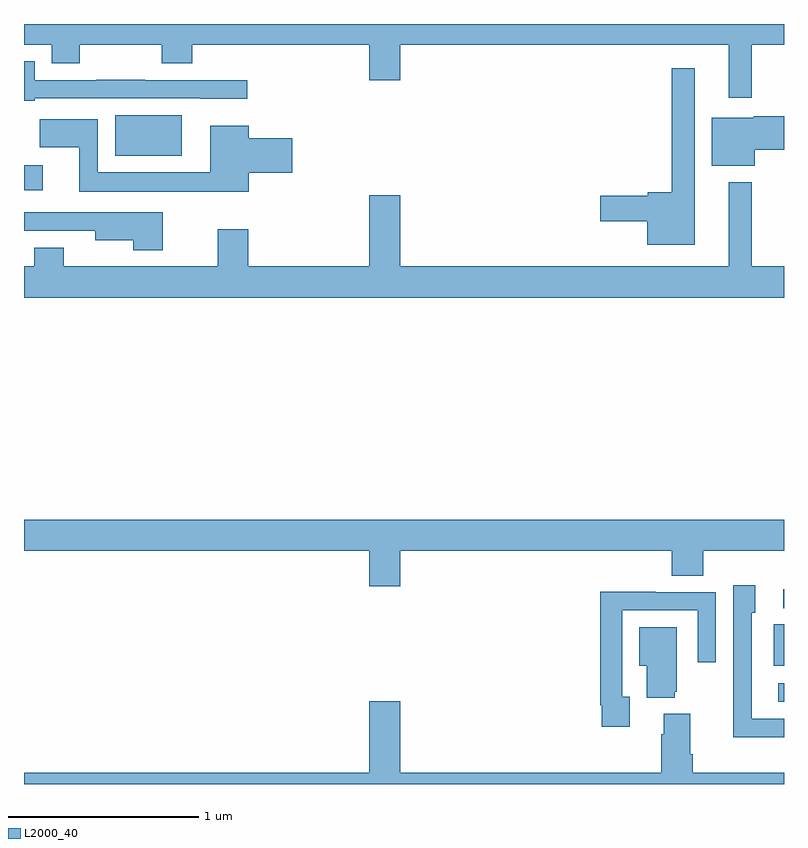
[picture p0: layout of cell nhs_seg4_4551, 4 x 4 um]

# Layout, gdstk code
import gdstk
lib = gdstk.Library(unit=1e-6, precision=1e-09)
def R(c, l, rs):  # rectangles x0, y0, x1, y1
    for r in rs: c.add(gdstk.rectangle(r[:2], r[2:], *l))
def P(c, l, *ps):  # polygons
    for p in ps: c.add(gdstk.Polygon(p, *l))
L2000_40 = (2000, 40)

nhs_seg4_4551 = lib.new_cell('nhs_seg4_4551')
R(nhs_seg4_4551, L2000_40, [(358.971,821.334,359,821.43), (358.946,821.522,359,821.741), (358.995,821.826,359,821.924), (355,824.024,355.099,824.157), (355.481,824.207,355.831,824.419)])
P(nhs_seg4_4551, L2000_40, [(355,824.792),(355.145,824.792),(355.145,824.693),(355.293,824.693),(355.293,824.792),(355.726,824.792),(355.726,824.693),(355.886,824.693),(355.886,824.792),(356.816,824.792),(356.816,824.604),(356.98,824.604),(356.98,824.792),(358.709,824.792),(358.709,824.511),(358.831,824.511),(358.831,824.792),(359,824.792),(359,824.9),(355,824.9)],
  [(355.057,824.508),(355.927,824.508),(355.927,824.507),(356.176,824.507),(356.176,824.604),(355.637,824.604),(355.637,824.606),(355.381,824.606),(355.381,824.604),(355.057,824.604),(355.057,824.703),(355,824.703),(355,824.496),(355.057,824.496)],
  [(358.531,824.668),(358.41,824.668),(358.41,824.015),(358.284,824.015),(358.284,823.997),(358.032,823.997),(358.032,823.862),(358.28,823.862),(358.28,823.739),(358.531,823.739)],
  [(358.846,824.237),(359,824.237),(359,824.415),(358.842,824.415),(358.842,824.407),(358.619,824.407),(358.619,824.153),(358.846,824.153)],
  [(356.182,824.117),(356.413,824.117),(356.413,824.3),(356.182,824.3),(356.182,824.365),(355.979,824.365),(355.979,824.119),(355.389,824.119),(355.389,824.398),(355.083,824.398),(355.083,824.252),(355.292,824.252),(355.292,824.018),(356.182,824.018)],
  [(359,823.624),(358.831,823.624),(358.831,824.068),(358.709,824.068),(358.709,823.624),(356.98,823.624),(356.98,823.999),(356.816,823.999),(356.816,823.624),(356.18,823.624),(356.18,823.819),(356.02,823.819),(356.02,823.624),(355.209,823.624),(355.209,823.723),(355.054,823.723),(355.054,823.624),(355,823.624),(355,823.46),(359,823.46)],
  [(355.731,823.909),(355.48,823.909),(355.48,823.908),(355,823.908),(355,823.812),(355.376,823.812),(355.376,823.763),(355.576,823.763),(355.576,823.71),(355.731,823.71)],
  [(356.98,822.128),(358.409,822.128),(358.409,821.995),(358.574,821.995),(358.574,822.128),(359,822.128),(359,822.292),(355,822.292),(355,822.128),(356.816,822.128),(356.816,821.94),(356.98,821.94)],
  [(359,821.244),(358.83,821.244),(358.83,821.802),(358.849,821.802),(358.849,821.947),(358.734,821.947),(358.734,821.453),(358.732,821.453),(358.732,821.147),(359,821.147)],
  [(358.189,821.358),(358.149,821.358),(358.149,821.814),(358.545,821.814),(358.545,821.541),(358.641,821.541),(358.641,821.91),(358.325,821.91),(358.325,821.912),(358.033,821.912),(358.033,821.314),(358.041,821.314),(358.041,821.202),(358.189,821.202)],
  [(358.424,821.385),(358.435,821.385),(358.435,821.725),(358.238,821.725),(358.238,821.522),(358.277,821.522),(358.277,821.354),(358.424,821.354)],
  [(359,820.96),(358.52,820.96),(358.52,821.056),(358.507,821.056),(358.507,821.269),(358.367,821.269),(358.367,821.162),(358.355,821.162),(358.355,820.96),(356.98,820.96),(356.98,821.335),(356.816,821.335),(356.816,820.96),(355,820.96),(355,820.9),(359,820.9)])

lib.write_gds('nhs_seg4_4551.gds')
